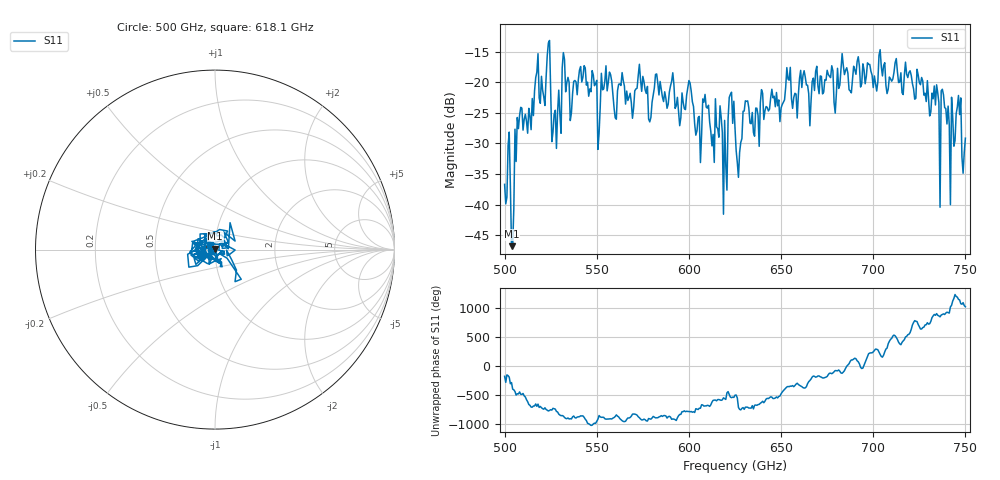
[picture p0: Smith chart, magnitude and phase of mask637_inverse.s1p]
!Created with skrf (http://scikit-rf.org).
# GHz S MA R 50.0
!freq magS11 angS11
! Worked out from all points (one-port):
!   401 points, 500 GHz to 750 GHz, reference 50 ohm
!   lowest |S11| = -46.8 dB at 503.8 GHz (marker M1), VSWR 1.01, Z = 50.1 + j0.441 ohm
!   |S11| at or under -10 dB: start of sweep to end of sweep
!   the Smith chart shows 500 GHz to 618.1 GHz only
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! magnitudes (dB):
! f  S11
! 500 GHz  -36.7
! 503.8 GHz  -46.8
! 508.1 GHz  -25.4
! 523.8 GHz  -13.5
! 526.9 GHz  -25.2
! 531.2 GHz  -17.6
! 548.8 GHz  -20.5
! 550.6 GHz  -31.0
! 562.5 GHz  -20.3
! 593.8 GHz  -22.4
! 600 GHz  -19.7
! 605.6 GHz  -25.6
! 609.4 GHz  -24.1
! 612.5 GHz  -30.4
! 616.9 GHz  -23.8
! 619.4 GHz  -26.2
! 623.1 GHz  -21.6
! 625 GHz  -27.5
! 626.9 GHz  -35.5
! 630.6 GHz  -23.0
! 656.2 GHz  -24.3
! 687.5 GHz  -21.4
! 718.8 GHz  -19.2
! 735 GHz  -21.7
! 738.1 GHz  -22.0
! 743.1 GHz  -25.8
! 746.2 GHz  -22.1
! 750 GHz  -29.1
